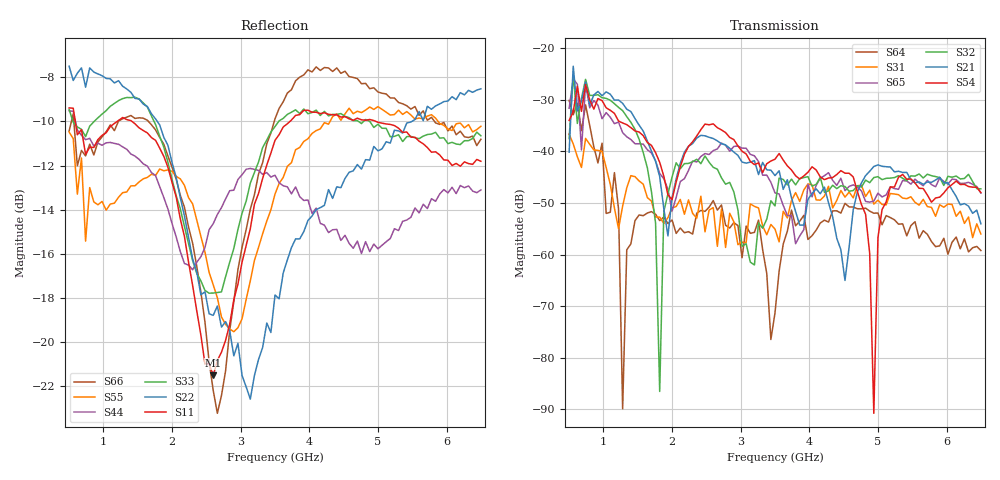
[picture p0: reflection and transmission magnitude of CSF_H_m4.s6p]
!Keysight Technologies,M9804A,MY58100912,A.14.10.03
!Date: Thursday, April 27, 2023 10:28:33
!Correction: S11(C  6-Port  )
!S12(C  6-Port  )
!S13(C  6-Port  )
!S14(C  6-Port  )
!S15(C  6-Port  )
!S16(C  6-Port  )
!S21(C  6-Port  )
!S22(C  6-Port  )
!S23(C  6-Port  )
!S24(C  6-Port  )
!S25(C  6-Port  )
!S26(C  6-Port  )
!S31(C  6-Port  )
!S32(C  6-Port  )
!S33(C  6-Port  )
!S34(C  6-Port  )
!S35(C  6-Port  )
!S36(C  6-Port  )
!S41(C  6-Port  )
!S42(C  6-Port  )
!S43(C  6-Port  )
!S44(C  6-Port  )
!S45(C  6-Port  )
!S46(C  6-Port  )
!S51(C  6-Port  )
!S52(C  6-Port  )
!S53(C  6-Port  )
!S54(C  6-Port  )
!S55(C  6-Port  )
!S56(C  6-Port  )
!S61(C  6-Port  )
!S62(C  6-Port  )
!S63(C  6-Port  )
!S64(C  6-Port  )
!S65(C  6-Port  )
!S66(C  6-Port  )
!S6P File: Measurement: :
# Hz S  RI  R 50
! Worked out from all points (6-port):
!   101 points, 500 MHz to 6.5 GHz, reference 50 ohm
!   strongest paths, dB at 500 MHz, 2 GHz, 3.5 GHz, 5 GHz, 6.5 GHz:
!     S54: -34.0, -49.3, -41.5, -56.7, -48.0
!     S21: -40.1, -48.9, -44.7, -42.6, -54.0
!     S32: -37.5, -45.0, -50.6, -44.9, -47.3
!     S65: -31.6, -51.6, -48.0, -48.1, -48.1
!     S31: -36.6, -51.0, -55.1, -49.5, -56.0
!     S64: -30.1, -53.3, -71.3, -51.9, -59.2
!   lowest |S11| = -21.5 dB at 2.6 GHz (marker M1), VSWR 1.18, Z = 42.5 + j2.13 ohm
!   |S11| at or under -10 dB: 590 MHz to 1.199 GHz (609.1 MHz wide, 68.1 % of centre); 1.417 GHz to 3.717 GHz (2.299 GHz wide, 89.6 % of centre); 4.973 GHz to end of sweep
